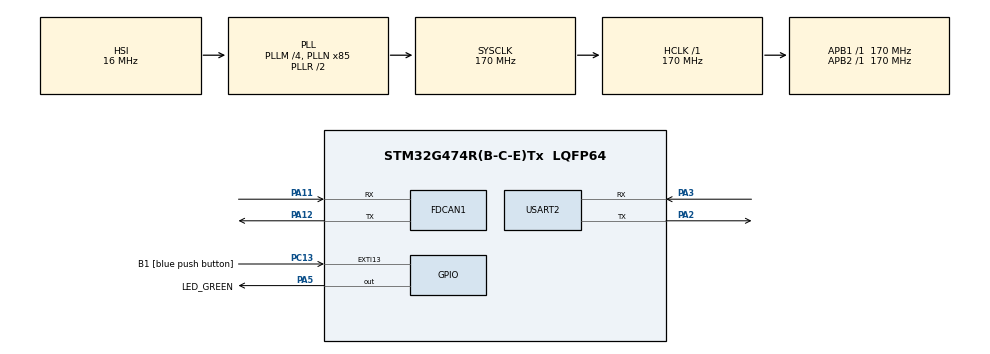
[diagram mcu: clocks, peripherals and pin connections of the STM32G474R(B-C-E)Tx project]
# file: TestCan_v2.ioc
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FDCAN1.CalculateBaudRateNominal=100117
FDCAN1.CalculateTimeBitNominal=9988
FDCAN1.CalculateTimeQuantumNominal=3329.4117647058824
FDCAN1.ClockDivider=FDCAN_CLOCK_DIV2
FDCAN1.Mode=FDCAN_MODE_EXTERNAL_LOOPBACK
FDCAN1.NominalPrescaler=283
FDCAN1.StdFiltersNbr=2
FREERTOS.BinarySemaphores01=semCan,Dynamic,NULL,Depleted
FREERTOS.Mutexes01=mutexCan,Dynamic,NULL,Available
FREERTOS.Queues01=queueCanFifo0,16,FdcanMsg,0,Dynamic,NULL,NULL;queueCanFifo1,16,FdcanMsg,0,Dynamic,NULL,NULL
FREERTOS.Tasks01=task0,24,256,startTask0,Default,NULL,Dynamic,NULL,NULL;task1,24,256,startTask1,Default,NULL,Dynamic,NULL,NULL;task2,24,256,startTask2,Default,NULL,Dynamic,NULL,NULL;task3,24,256,startTask3,Default,NULL,Dynamic,NULL,NULL
FREERTOS.configTOTAL_HEAP_SIZE=10048
Mcu.Family=STM32G4
Mcu.Name=STM32G474R(B-C-E)Tx
Mcu.Package=LQFP64
NVIC.EXTI15_10_IRQn=true\:7\:0\:true\:false\:true\:true\:true\:true\:true
NVIC.FDCAN1_IT0_IRQn=true\:5\:0\:false\:false\:true\:true\:true\:true\:true
NVIC.FDCAN1_IT1_IRQn=true\:6\:0\:true\:false\:true\:true\:true\:true\:true
NVIC.PriorityGroup=NVIC_PRIORITYGROUP_4
NVIC.TIM6_DAC_IRQn=true\:15\:0\:false\:false\:true\:false\:false\:true\:true
NVIC.TimeBase=TIM6_DAC_IRQn
NVIC.TimeBaseIP=TIM6
NVIC.USART2_IRQn=true\:7\:0\:true\:false\:true\:true\:true\:true\:true
PA11.Mode=FDCAN_Activate
PA11.Signal=FDCAN1_RX
PA12.Mode=FDCAN_Activate
PA12.Signal=FDCAN1_TX
PA13.GPIO_Label=T_SWDIO
PA13.Mode=Trace_Asynchronous_SW
PA13.Signal=SYS_JTMS-SWDIO
PA14.GPIO_Label=T_SWCLK
PA14.Mode=Trace_Asynchronous_SW
PA14.Signal=SYS_JTCK-SWCLK
PA2.Mode=Asynchronous
PA2.Signal=USART2_TX
PA3.Mode=Asynchronous
PA3.Signal=USART2_RX
PA5.GPIO_Label=LED_GREEN
PA5.Signal=GPIO_Output
PB3.GPIO_Label=T_SWO
PB3.Mode=Trace_Asynchronous_SW
PB3.Signal=SYS_JTDO-SWO
PC13.GPIO_Label=B1 [blue push button]
PC13.Signal=GPXTI13
PC14-OSC32_IN.GPIO_Label=RCC_OSC32_IN
PC14-OSC32_IN.Signal=RCC_OSC32_IN
PC15-OSC32_OUT.GPIO_Label=RCC_OSC32_OUT
PC15-OSC32_OUT.Signal=RCC_OSC32_OUT
PF0-OSC_IN.GPIO_Label=RCC_OSC_IN
PF0-OSC_IN.Signal=RCC_OSC_IN
PF1-OSC_OUT.GPIO_Label=RCC_OSC_OUT
PF1-OSC_OUT.Signal=RCC_OSC_OUT
ProjectManager.HeapSize=0x200
ProjectManager.StackSize=0x400
ProjectManager.TargetToolchain=STM32CubeIDE
RCC.ADC12Freq_Value=170000000
RCC.ADC345Freq_Value=170000000
RCC.AHBFreq_Value=170000000
RCC.APB1Freq_Value=170000000
RCC.APB1TimFreq_Value=170000000
RCC.APB2Freq_Value=170000000
RCC.APB2TimFreq_Value=170000000
RCC.CortexFreq_Value=170000000
RCC.EXTERNAL_CLOCK_VALUE=12288000
RCC.HCLKFreq_Value=170000000
RCC.HSE_VALUE=24000000
RCC.HSI48_VALUE=48000000
RCC.HSI_VALUE=16000000
RCC.LSE_VALUE=32768
RCC.PLLM=RCC_PLLM_DIV4
RCC.PLLN=85
RCC.RTCClockSelection=RCC_RTCCLKSOURCE_LSE
RCC.SYSCLKFreq_VALUE=170000000
RCC.SYSCLKSource=RCC_SYSCLKSOURCE_PLLCLK
RCC.USBFreq_Value=170000000
RCC.VCOOutputFreq_Value=340000000
USART2.VirtualMode-Asynchronous=VM_ASYNC
VP_FREERTOS_VS_CMSIS_V2.Mode=CMSIS_V2
VP_SYS_VS_DBSignals.Mode=DisableDeadBatterySignals
VP_SYS_VS_tim6.Mode=TIM6
board=NUCLEO-G474RE

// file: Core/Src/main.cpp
/* USER CODE BEGIN Header */
/**
 ******************************************************************************
 * @file           : main.c
 * @brief          : Main program body
 ******************************************************************************
 * @attention
 *
 * Copyright (c) 2025 STMicroelectronics.
 * All rights reserved.
 *
 * This software is licensed under terms that can be found in the LICENSE file
 * in the root directory of this software component.
 * If no LICENSE file comes with this software, it is provided AS-IS.
 *
 ******************************************************************************
 */
/* USER CODE END Header */
#include "main.h"
#include "cmsis_os.h"

/* USER CODE BEGIN Includes */

#include "../../Project/fdcan_controller.h"

#include <stdio.h>
#include <string.h>

/* USER CODE END Includes */

FDCAN_HandleTypeDef hfdcan1;

UART_HandleTypeDef huart2;

/* Definitions for task0 */
osThreadId_t task0Handle;
const osThreadAttr_t task0_attributes =
{ .name = "task0", .stack_size = 256 * 4, .priority =
		(osPriority_t) osPriorityNormal };
/* Definitions for task1 */
osThreadId_t task1Handle;
const osThreadAttr_t task1_attributes =
{ .name = "task1", .stack_size = 256 * 4, .priority =
		(osPriority_t) osPriorityNormal };
/* Definitions for task2 */
osThreadId_t task2Handle;
const osThreadAttr_t task2_attributes =
{ .name = "task2", .stack_size = 256 * 4, .priority =
		(osPriority_t) osPriorityNormal };
/* Definitions for task2 */
osThreadId_t task3Handle;
const osThreadAttr_t task3_attributes =
{ .name = "task3", .stack_size = 256 * 4, .priority =
		(osPriority_t) osPriorityNormal };
/* Definitions for queueCan */
osMessageQueueId_t queueCanFifo0Handle;
const osMessageQueueAttr_t queueCanFifo0_attributes =
{ .name = "queueCanFifo0" };
/* Definitions for queueCan */
osMessageQueueId_t queueCanFifo1Handle;
const osMessageQueueAttr_t queueCanFifo1_attributes =
{ .name = "queueCanFifo1" };
/* Definitions for mutexCan */
osMutexId_t mutexCanHandle;
const osMutexAttr_t mutexCan_attributes =
{ .name = "mutexCan" };
/* Definitions for semCan */
osSemaphoreId_t semCanHandle;
const osSemaphoreAttr_t semCan_attributes =
{ .name = "semCan" };

void SystemClock_Config(void);
static void MX_GPIO_Init(void);
static void MX_FDCAN1_Init(void);
static void MX_USART2_UART_Init(void);
void startTask0(void *argument);
void startTask1(void *argument);
void startTask2(void *argument);
void startTask3(void *argument);

/* USER CODE BEGIN PFP */

FdcanController can;

/* USER CODE END PFP */

/* USER CODE BEGIN 0 */

extern "C" int _write(int file, char *data, int len)
{
	HAL_UART_Transmit(&huart2, (uint8_t*) data, len, 100);
	return len;
}

/* USER CODE END 0 */

int main(void)
{

	/* MCU Configuration--------------------------------------------------------*/

	/* Reset of all peripherals, Initializes the Flash interface and the Systick. */
	HAL_Init();

	/* Configure the system clock */
	SystemClock_Config();

	/* Initialize all configured peripherals */
	MX_GPIO_Init();
	MX_FDCAN1_Init();
	MX_USART2_UART_Init();
	/* USER CODE BEGIN 2 */

	printf("Can Test\r\n");

	can.setHandleFdcan(&hfdcan1);
	can.setHandleMutex(&mutexCanHandle);
	can.setHandleQueue(&queueCanFifo0Handle, FdcanController::Buffer::Fifo0);
	can.setHandleQueue(&queueCanFifo1Handle, FdcanController::Buffer::Fifo1);
	can.setHandleSem(&semCanHandle);

	FDCAN_FilterTypeDef filterFifo0;
	filterFifo0.IdType = FDCAN_STANDARD_ID;
	filterFifo0.FilterIndex = 0;
	filterFifo0.FilterType = FDCAN_FILTER_MASK;
	filterFifo0.FilterConfig = FDCAN_FILTER_TO_RXFIFO0;
	filterFifo0.FilterID1 = 0x100;
	filterFifo0.FilterID2 = 0x700;
	if (can.setFilter(&filterFifo0) != FdcanController::State::Ok)
	{
		printf("error\r\n");
	}

	FDCAN_FilterTypeDef filterFifo1;
	filterFifo1.IdType = FDCAN_STANDARD_ID;
	filterFifo1.FilterIndex = 1;
	filterFifo1.FilterType = FDCAN_FILTER_MASK;
	filterFifo1.FilterConfig = FDCAN_FILTER_TO_RXFIFO1;
	filterFifo1.FilterID1 = 0x200;
	filterFifo1.FilterID2 = 0x700;
	if (can.setFilter(&filterFifo1) != FdcanController::State::Ok)
	{
		printf("error\r\n");
	}

	if (can.init() != FdcanController::State::Ok)
	{
		printf("error\r\n");
	}

	/* USER CODE END 2 */

	/* Init scheduler */
	osKernelInitialize();
	/* Create the mutex(es) */
	/* creation of mutexCan */
	mutexCanHandle = osMutexNew(&mutexCan_attributes);

	/* Create the semaphores(s) */
	/* creation of semCan */
	semCanHandle = osSemaphoreNew(1, 0, &semCan_attributes);

	/* Create the queue(s) */
	/* creation of queueCan */
	queueCanFifo0Handle = osMessageQueueNew(16, sizeof(FdcanMsg),
			&queueCanFifo0_attributes);
	queueCanFifo1Handle = osMessageQueueNew(16, sizeof(FdcanMsg),
			&queueCanFifo1_attributes);

	/* Create the thread(s) */
	/* creation of task0 */
	task0Handle = osThreadNew(startTask0, NULL, &task0_attributes);

	/* creation of task1 */
	task1Handle = osThreadNew(startTask1, NULL, &task1_attributes);

	/* creation of task2 */
	task2Handle = osThreadNew(startTask2, NULL, &task2_attributes);

	/* creation of task3 */
	task3Handle = osThreadNew(startTask3, NULL, &task3_attributes);

	/* Start scheduler */
	osKernelStart();

	/* We should never get here as control is now taken by the scheduler */

	/* Infinite loop */
	while (1)
	{

	}
}

void SystemClock_Config(void)
{
	RCC_OscInitTypeDef RCC_OscInitStruct =
	{ 0 };
	RCC_ClkInitTypeDef RCC_ClkInitStruct =
	{ 0 };

	/** Configure the main internal regulator output voltage
	 */
	HAL_PWREx_ControlVoltageScaling(PWR_REGULATOR_VOLTAGE_SCALE1_BOOST);

	/** Initializes the RCC Oscillators according to the specified parameters
	 * in the RCC_OscInitTypeDef structure.
	 */
	RCC_OscInitStruct.OscillatorType = RCC_OSCILLATORTYPE_HSI;
	RCC_OscInitStruct.HSIState = RCC_HSI_ON;
	RCC_OscInitStruct.HSICalibrationValue = RCC_HSICALIBRATION_DEFAULT;
	RCC_OscInitStruct.PLL.PLLState = RCC_PLL_ON;
	RCC_OscInitStruct.PLL.PLLSource = RCC_PLLSOURCE_HSI;
	RCC_OscInitStruct.PLL.PLLM = RCC_PLLM_DIV4;
	RCC_OscInitStruct.PLL.PLLN = 85;
	RCC_OscInitStruct.PLL.PLLP = RCC_PLLP_DIV2;
	RCC_OscInitStruct.PLL.PLLQ = RCC_PLLQ_DIV2;
	RCC_OscInitStruct.PLL.PLLR = RCC_PLLR_DIV2;
	if (HAL_RCC_OscConfig(&RCC_OscInitStruct) != HAL_OK)
	{
		Error_Handler();
	}

	/** Initializes the CPU, AHB and APB buses clocks
	 */
	RCC_ClkInitStruct.ClockType = RCC_CLOCKTYPE_HCLK | RCC_CLOCKTYPE_SYSCLK
			| RCC_CLOCKTYPE_PCLK1 | RCC_CLOCKTYPE_PCLK2;
	RCC_ClkInitStruct.SYSCLKSource = RCC_SYSCLKSOURCE_PLLCLK;
	RCC_ClkInitStruct.AHBCLKDivider = RCC_SYSCLK_DIV1;
	RCC_ClkInitStruct.APB1CLKDivider = RCC_HCLK_DIV1;
	RCC_ClkInitStruct.APB2CLKDivider = RCC_HCLK_DIV1;

	if (HAL_RCC_ClockConfig(&RCC_ClkInitStruct, FLASH_LATENCY_4) != HAL_OK)
	{
		Error_Handler();
	}
}

static void MX_FDCAN1_Init(void)
{

	hfdcan1.Instance = FDCAN1;
	hfdcan1.Init.ClockDivider = FDCAN_CLOCK_DIV2;
	hfdcan1.Init.FrameFormat = FDCAN_FRAME_CLASSIC;
	hfdcan1.Init.Mode = FDCAN_MODE_EXTERNAL_LOOPBACK;
	hfdcan1.Init.AutoRetransmission = DISABLE;
	hfdcan1.Init.TransmitPause = DISABLE;
	hfdcan1.Init.ProtocolException = DISABLE;
	hfdcan1.Init.NominalPrescaler = 283;
	hfdcan1.Init.NominalSyncJumpWidth = 1;
	hfdcan1.Init.NominalTimeSeg1 = 1;
	hfdcan1.Init.NominalTimeSeg2 = 1;
	hfdcan1.Init.DataPrescaler = 1;
	hfdcan1.Init.DataSyncJumpWidth = 1;
	hfdcan1.Init.DataTimeSeg1 = 1;
	hfdcan1.Init.DataTimeSeg2 = 1;
	hfdcan1.Init.StdFiltersNbr = 2;
	hfdcan1.Init.ExtFiltersNbr = 0;
	hfdcan1.Init.TxFifoQueueMode = FDCAN_TX_FIFO_OPERATION;
	if (HAL_FDCAN_Init(&hfdcan1) != HAL_OK)
	{
		Error_Handler();
	}

}

static void MX_USART2_UART_Init(void)
{

	huart2.Instance = USART2;
	huart2.Init.BaudRate = 115200;
	huart2.Init.WordLength = UART_WORDLENGTH_8B;
	huart2.Init.StopBits = UART_STOPBITS_1;
	huart2.Init.Parity = UART_PARITY_NONE;
	huart2.Init.Mode = UART_MODE_TX_RX;
	huart2.Init.HwFlowCtl = UART_HWCONTROL_NONE;
	huart2.Init.OverSampling = UART_OVERSAMPLING_16;
	huart2.Init.OneBitSampling = UART_ONE_BIT_SAMPLE_DISABLE;
	huart2.Init.ClockPrescaler = UART_PRESCALER_DIV1;
	huart2.AdvancedInit.AdvFeatureInit = UART_ADVFEATURE_NO_INIT;
	if (HAL_UART_Init(&huart2) != HAL_OK)
	{
		Error_Handler();
	}
	if (HAL_UARTEx_SetTxFifoThreshold(&huart2, UART_TXFIFO_THRESHOLD_1_8)
			!= HAL_OK)
	{
		Error_Handler();
	}
	if (HAL_UARTEx_SetRxFifoThreshold(&huart2, UART_RXFIFO_THRESHOLD_1_8)
			!= HAL_OK)
	{
		Error_Handler();
	}
	if (HAL_UARTEx_DisableFifoMode(&huart2) != HAL_OK)
	{
		Error_Handler();
	}

}

static void MX_GPIO_Init(void)
{
	GPIO_InitTypeDef GPIO_InitStruct =
	{ 0 };

	/* GPIO Ports Clock Enable */
	__HAL_RCC_GPIOC_CLK_ENABLE();
	__HAL_RCC_GPIOF_CLK_ENABLE();
	__HAL_RCC_GPIOA_CLK_ENABLE();
	__HAL_RCC_GPIOB_CLK_ENABLE();

	/*Configure GPIO pin Output Level */
	HAL_GPIO_WritePin(LED_GREEN_GPIO_Port, LED_GREEN_Pin, GPIO_PIN_RESET);

	/*Configure GPIO pin : B1_Pin */
	GPIO_InitStruct.Pin = B1_Pin;
	GPIO_InitStruct.Mode = GPIO_MODE_IT_RISING;
	GPIO_InitStruct.Pull = GPIO_NOPULL;
	HAL_GPIO_Init(B1_GPIO_Port, &GPIO_InitStruct);

	/*Configure GPIO pin : LED_GREEN_Pin */
	GPIO_InitStruct.Pin = LED_GREEN_Pin;
	GPIO_InitStruct.Mode = GPIO_MODE_OUTPUT_PP;
	GPIO_InitStruct.Pull = GPIO_NOPULL;
	GPIO_InitStruct.Speed = GPIO_SPEED_FREQ_LOW;
	HAL_GPIO_Init(LED_GREEN_GPIO_Port, &GPIO_InitStruct);

	/* EXTI interrupt init*/
	HAL_NVIC_SetPriority(EXTI15_10_IRQn, 7, 0);
	HAL_NVIC_EnableIRQ(EXTI15_10_IRQn);

}

/* USER CODE BEGIN 4 */

void HAL_FDCAN_TxBufferCompleteCallback(FDCAN_HandleTypeDef *hfdcan,
		uint32_t BufferIndexes)
{
	if (can.updateInterruptTx(hfdcan) != FdcanController::State::Ok)
	{
		printf("error\r\n");
	}
}

void HAL_FDCAN_RxFifo0Callback(FDCAN_HandleTypeDef *hfdcan, uint32_t RxFifo0ITs)
{
	if (can.updateInterruptRx(hfdcan, RxFifo0ITs) != FdcanController::State::Ok)
	{
		printf("error\r\n");
	}
}

void HAL_FDCAN_RxFifo1Callback(FDCAN_HandleTypeDef *hfdcan, uint32_t RxFifo1ITs)
{
	if (can.updateInterruptRx(hfdcan, RxFifo1ITs) != FdcanController::State::Ok)
	{
		printf("error\r\n");
	}
}

void task_action(char command)
{
	ITM_SendChar(command);
	ITM_SendChar('\n');
}

/* USER CODE END 4 */

void startTask0(void *argument)
{
	/* USER CODE BEGIN 5 */

	FdcanMsg msg;
	msg.txHeader.Identifier = 0x100;
	msg.txHeader.IdType = FDCAN_STANDARD_ID;
	msg.txHeader.TxFrameType = FDCAN_DATA_FRAME;
	msg.txHeader.DataLength = FDCAN_DLC_BYTES_8;
	msg.txHeader.ErrorStateIndicator = FDCAN_ESI_ACTIVE;
	msg.txHeader.BitRateSwitch = FDCAN_BRS_OFF;
	msg.txHeader.FDFormat = FDCAN_CLASSIC_CAN;
	msg.txHeader.TxEventFifoControl = FDCAN_NO_TX_EVENTS;
	msg.txHeader.MessageMarker = 0;

	memcpy(msg.data, "fifo0\0", 6);
	/* Infinite loop */
	for (;;)
	{
		osDelay(1e3);
		task_action('1');
		can.send(msg);
	}
	/* USER CODE END 5 */
}

void startTask1(void *argument)
{
	/* USER CODE BEGIN startTask1 */
	/* Infinite loop */
	for (;;)
	{
		FdcanMsg msg;
		can.receive(&msg, FdcanController::Buffer::Fifo0);
		printf("fifo0 got: %s\r\n", reinterpret_cast<char*>(msg.data));
	}
	/* USER CODE END startTask1 */
}

void startTask2(void *argument)
{
	/* USER CODE BEGIN startTask1 */
	FdcanMsg msg;
	msg.txHeader.Identifier = 0x200;
	msg.txHeader.IdType = FDCAN_STANDARD_ID;
	msg.txHeader.TxFrameType = FDCAN_DATA_FRAME;
	msg.txHeader.DataLength = FDCAN_DLC_BYTES_8;
	msg.txHeader.ErrorStateIndicator = FDCAN_ESI_ACTIVE;
	msg.txHeader.BitRateSwitch = FDCAN_BRS_OFF;
	msg.txHeader.FDFormat = FDCAN_CLASSIC_CAN;
	msg.txHeader.TxEventFifoControl = FDCAN_NO_TX_EVENTS;
	msg.txHeader.MessageMarker = 0;

	memcpy(msg.data, "fifo1\0", 6);
	/* Infinite loop */
	for (;;)
	{
		osDelay(1e3);
		task_action('2');
		can.send(msg);
	}
	/* USER CODE END startTask1 */
}

void startTask3(void *argument)
{
	/* USER CODE BEGIN startTask1 */

	/* Infinite loop */
	for (;;)
	{
		FdcanMsg msg;
		can.receive(&msg, FdcanController::Buffer::Fifo1);
		printf("fifo1 got: %s\r\n", reinterpret_cast<char*>(msg.data));
	}
	/* USER CODE END startTask1 */
}

void HAL_TIM_PeriodElapsedCallback(TIM_HandleTypeDef *htim)
{
	if (htim->Instance == TIM6)
	{
		HAL_IncTick();
	}
}

void Error_Handler(void)
{
	__disable_irq();
	while (1)
	{
	}
}
